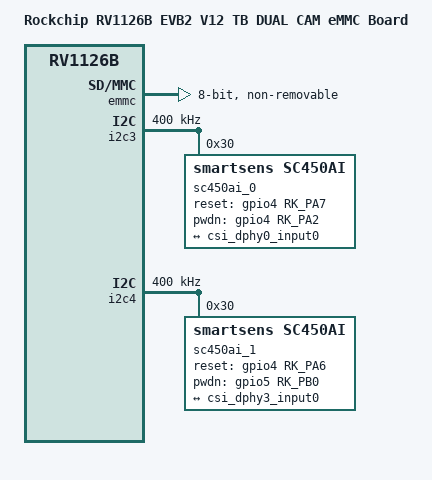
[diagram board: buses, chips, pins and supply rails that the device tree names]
// SPDX-License-Identifier: (GPL-2.0+ OR MIT)
/*
 * Copyright (c) 2025 Rockchip Electronics Co., Ltd.
 */

/dts-v1/;
#include "arm64/rockchip/rv1126b.dtsi"
#include "arm64/rockchip/rv1126b-evb.dtsi"
#include "arm64/rockchip/rv1126b-evb2-v10.dtsi"
#include "rv1126b-thunder-boot-dual-cam.dtsi"
#include "rv1126b-thunder-boot-emmc.dtsi"

/ {
	model = "Rockchip RV1126B EVB2 V12 TB DUAL CAM eMMC Board";
	compatible = "rockchip,rv1126b-evb2-v12-tb-dual-cam-emmc", "rockchip,rv1126b";

	chosen {
		bootargs = "loglevel=0 initcall_nr_threads=-1 initcall_debug=0 earlycon=uart8250,mmio32,0x20810000 console=ttyFIQ0 root=/dev/rd0 rootfstype=erofs rootflags=dax snd_soc_core.prealloc_buffer_size_kbytes=16 coherent_pool=32K";
	};
};

&emmc {
	bus-width = <8>;
	cap-mmc-highspeed;
	non-removable;
	mmc-hs200-1_8v;
	rockchip,default-sample-phase = <90>;
	no-sdio;
	no-sd;
	status = "okay";
};

&fspi0 {
	status = "disabled";
};

&i2c3 {
	clock-frequency = <400000>;
	pinctrl-names = "default";
	pinctrl-0 = <&i2c3m1_pins>;
	rockchip,amp-shared;
	status = "okay";

	sc450ai_0: sc450ai_0@30 {
		compatible = "smartsens,sc450ai";
		reg = <0x30>;
		clocks = <&cru CLK_MIPI0_OUT2IO>;
		clock-names = "xvclk";
		reset-gpios = <&gpio4 RK_PA7 GPIO_ACTIVE_HIGH>;
		pwdn-gpios = <&gpio4 RK_PA2 GPIO_ACTIVE_HIGH>;
		pinctrl-names = "default";
		pinctrl-0 = <&cam_clk0_pins>;
		rockchip,camera-module-index = <0>;
		rockchip,camera-module-facing = "back";
		rockchip,camera-module-name = "default";
		rockchip,camera-module-lens-name = "default";
		port {
			cam0_out: endpoint {
				remote-endpoint = <&csi_dphy0_input0>;
				data-lanes = <1 2 3 4>;
			};
		};
	};
};

&i2c4 {
	clock-frequency = <400000>;
	pinctrl-names = "default";
	pinctrl-0 = <&i2c4m3_pins>;
	rockchip,amp-shared;
	status = "okay";

	sc450ai_1: sc450ai_1@30 {
		compatible = "smartsens,sc450ai";
		reg = <0x30>;
		clocks = <&cru CLK_MIPI2_OUT2IO>;
		clock-names = "xvclk";
		reset-gpios = <&gpio4 RK_PA6 GPIO_ACTIVE_HIGH>;
		pwdn-gpios = <&gpio5 RK_PB0 GPIO_ACTIVE_HIGH>;
		pinctrl-names = "default";
		pinctrl-0 = <&cam_clk2_pins>;
		rockchip,camera-module-index = <1>;
		rockchip,camera-module-facing = "back";
		rockchip,camera-module-name = "default";
		rockchip,camera-module-lens-name = "default";
		port {
			cam1_out: endpoint {
				remote-endpoint = <&csi_dphy3_input0>;
				data-lanes = <1 2 3 4>;
			};
		};
	};
};

&meta {
	reg = <0x41240000 0x1b0000>;
};

&rkisp_thunderboot {
	/* reg's offset MUST match with RTOS */
	/*
	 * vicap, capture raw10, ceil(w*10/8/256)*256*h *4(buf num) + sizeof(rkisp_thunderboot_resmem_head)
	 * e.g. 2688x1520: 0x14c8000 + 0x9000
	 * e.g. 3840x2160: 0x2814000 + 0x9000
	 */
	reg = <0x413F0000 0x14d1000>;
};

&rkisp1_thunderboot {
	/* reg's offset MUST match with RTOS */
	/*
	 * vicap, capture raw10, ceil(w*10/8/256)*256*h *4(buf num) + sizeof(rkisp_thunderboot_resmem_head)
	 * e.g. 2688x1520: 0x14c8000 + 0x9000
	 * e.g. 3840x2160: 0x2814000 + 0x9000
	 */
	reg = <0x428C1000 0x14d1000>;
};


&ramdisk_r {
	reg = <0x48c40000 (60 * 0x00100000)>;
};

&ramdisk_c {
	reg = <0x4c840000 (30 * 0x00100000)>;
};
